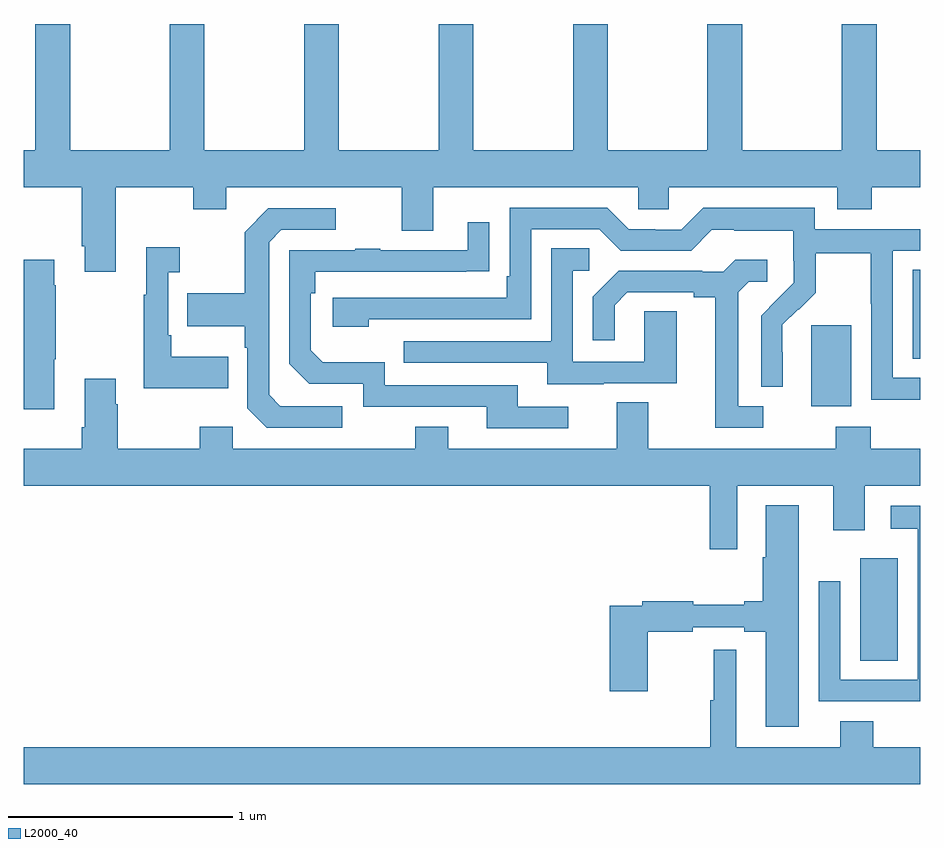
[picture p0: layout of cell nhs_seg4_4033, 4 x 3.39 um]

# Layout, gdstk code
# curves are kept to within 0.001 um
import gdstk
lib = gdstk.Library(unit=1e-6, precision=1e-09)
def R(c, l, rs):  # rectangles x0, y0, x1, y1
    for r in rs: c.add(gdstk.rectangle(r[:2], r[2:], *l))
def P(c, l, *ps):  # polygons
    for p in ps: c.add(gdstk.Polygon(p, *l))
L2000_40 = (2000, 40)

nhs_seg4_4033 = lib.new_cell('nhs_seg4_4033')
R(nhs_seg4_4033, L2000_40, [(328.733,776.059,328.9,776.515), (328.514,777.194,328.693,777.555), (328.967,777.406,329,777.803)])
P(nhs_seg4_4033, L2000_40, [(325.411,778.172),(325.756,778.172),(325.756,778.073),(325.903,778.073),(325.903,778.172),(326.687,778.172),(326.687,777.978),(326.827,777.978),(326.827,778.172),(327.741,778.172),(327.741,778.074),(327.879,778.074),(327.879,778.172),(328.631,778.172),(328.631,778.073),(328.784,778.073),(328.784,778.172),(329,778.172),(329,778.336),(328.806,778.336),(328.806,778.9),(328.651,778.9),(328.651,778.336),(328.206,778.336),(328.206,778.9),(328.051,778.9),(328.051,778.336),(327.606,778.336),(327.606,778.9),(327.451,778.9),(327.451,778.336),(327.006,778.336),(327.006,778.9),(326.851,778.9),(326.851,778.336),(326.406,778.336),(326.406,778.9),(326.251,778.9),(326.251,778.336),(325.806,778.336),(325.806,778.9),(325.651,778.9),(325.651,778.336),(325.206,778.336),(325.206,778.9),(325.051,778.9),(325.051,778.336),(325,778.336),(325,778.172),(325.259,778.172),(325.259,777.907),(325.271,777.907),(325.271,777.795),(325.411,777.795)],
  [(329,777.321),(328.878,777.321),(328.878,777.888),(329,777.888),(329,777.984),(328.53,777.984),(328.53,778.081),(328.033,778.081),(327.933,777.981),(327.818,777.981),(327.818,777.984),(327.699,777.984),(327.603,778.08),(327.168,778.08),(327.168,777.775),(327.155,777.775),(327.155,777.678),(326.379,777.678),(326.379,777.548),(326.54,777.548),(326.54,777.582),(327.264,777.582),(327.264,777.984),(327.567,777.984),(327.663,777.888),(327.978,777.888),(328.071,777.981),(328.171,777.981),(328.171,777.977),(328.434,777.977),(328.434,777.843),(328.436,777.843),(328.436,777.746),(328.29,777.598),(328.29,777.28),(328.386,777.28),(328.385,777.557),(328.455,777.627),(328.458,777.624),(328.535,777.701),(328.535,777.876),(328.78,777.876),(328.78,777.652),(328.782,777.652),(328.782,777.223),(329,777.223)],
  [(326.422,777.195),(326.145,777.195),(326.094,777.246),(326.094,777.927),(326.148,777.981),(326.392,777.981),(326.392,778.077),(326.091,778.077),(325.986,777.971),(325.986,777.699),(325.729,777.699),(325.729,777.551),(325.986,777.551),(325.986,777.455),(325.998,777.455),(325.998,777.186),(326.085,777.099),(326.422,777.099)],
  [(327.43,777.192),(327.205,777.192),(327.205,777.288),(326.61,777.288),(326.61,777.391),(326.333,777.391),(326.28,777.444),(326.28,777.698),(326.3,777.698),(326.3,777.795),(327.077,777.796),(327.077,778.015),(326.981,778.015),(326.981,777.891),(326.591,777.891),(326.591,777.896),(326.479,777.896),(326.479,777.891),(326.184,777.891),(326.184,777.384),(326.274,777.294),(326.514,777.294),(326.514,777.192),(327.065,777.192),(327.065,777.096),(327.43,777.096)],
  [(325.913,777.415),(325.657,777.415),(325.657,777.511),(325.644,777.511),(325.644,777.791),(325.696,777.791),(325.696,777.904),(325.547,777.904),(325.547,777.691),(325.536,777.691),(325.536,777.275),(325.913,777.275)],
  [(327.589,777.297),(327.913,777.297),(327.913,777.617),(327.768,777.617),(327.768,777.393),(327.45,777.393),(327.45,777.798),(327.523,777.798),(327.523,777.899),(327.354,777.899),(327.354,777.483),(326.695,777.483),(326.695,777.387),(327.335,777.387),(327.335,777.293),(327.589,777.293)],
  [(325.135,777.403),(325.143,777.403),(325.143,777.734),(325.135,777.734),(325.135,777.847),(325,777.847),(325,777.18),(325.135,777.18)],
  [(328.3,777.195),(328.189,777.195),(328.189,777.703),(328.236,777.75),(328.318,777.75),(328.318,777.847),(328.174,777.847),(328.122,777.795),(328.028,777.795),(328.028,777.798),(327.656,777.798),(327.54,777.682),(327.54,777.489),(327.637,777.489),(327.637,777.645),(327.694,777.702),(327.989,777.702),(327.989,777.68),(328.085,777.68),(328.085,777.099),(328.3,777.099)],
  [(328.183,776.84),(328.613,776.84),(328.613,776.64),(328.753,776.64),(328.753,776.84),(329,776.84),(329,777.004),(328.779,777.004),(328.779,777.103),(328.624,777.103),(328.624,777.004),(327.787,777.004),(327.787,777.212),(327.647,777.212),(327.647,777.004),(326.893,777.004),(326.893,777.103),(326.746,777.103),(326.746,777.004),(325.932,777.004),(325.932,777.103),(325.786,777.103),(325.786,777.004),(325.419,777.004),(325.419,777.203),(325.411,777.203),(325.411,777.316),(325.271,777.316),(325.271,777.1),(325.259,777.1),(325.259,777.004),(325,777.004),(325,776.84),(328.062,776.84),(328.062,776.556),(328.183,776.556)],
  [(328.459,776.752),(328.31,776.752),(328.31,776.52),(328.298,776.52),(328.298,776.324),(328.214,776.324),(328.214,776.307),(327.987,776.307),(327.987,776.324),(327.76,776.324),(327.76,776.304),(327.614,776.304),(327.614,775.923),(327.784,775.923),(327.784,776.188),(327.986,776.188),(327.986,776.208),(328.214,776.208),(328.214,776.188),(328.31,776.188),(328.31,775.764),(328.459,775.764)],
  [(329,776.749),(328.869,776.749),(328.869,776.648),(328.989,776.648),(328.989,775.974),(328.644,775.974),(328.644,776.413),(328.548,776.413),(328.548,775.878),(328.892,775.878),(328.892,775.877),(329,775.877)],
  [(329,775.672),(328.791,775.672),(328.791,775.789),(328.643,775.789),(328.643,775.672),(328.18,775.672),(328.18,776.107),(328.078,776.107),(328.078,775.881),(328.063,775.881),(328.063,775.672),(325,775.672),(325,775.508),(329,775.508)])

lib.write_gds('nhs_seg4_4033.gds')
